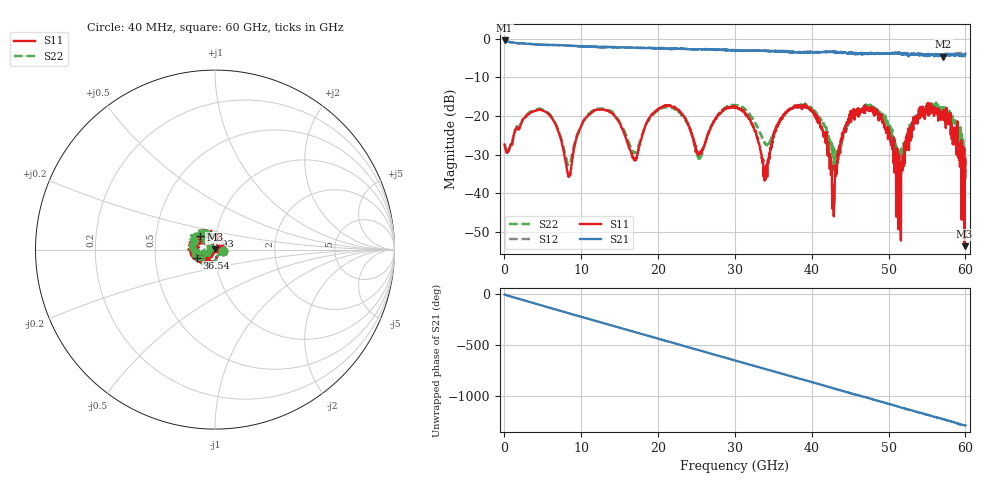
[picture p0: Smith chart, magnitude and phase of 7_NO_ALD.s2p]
! File created by 'SoftPlot +Plus+ Measurement Management Software'
! SoftPlot +Plus+ Measurement Management Software
! Start 40.000000 MHz  Stop 60.000000 GHz  Points 1601
# MHZ S RI R 50
! S-Parameter data, F S11 S21 S12 S22
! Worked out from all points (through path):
!   1601 points, 40 MHz to 60 GHz, reference 50 ohm
!   highest |S21| = -0.41 dB at 40 MHz (marker M1); lowest = -4.6 dB at 57.11 GHz (marker M2)
!   group delay of S21, straight-line fit = 59.6 ps
!   lowest |S11| = -53.7 dB at 59.89 GHz (marker M3), VSWR 1.00, Z = 49.8 + j0.112 ohm
!   |S11| at or under -10 dB: start of sweep to end of sweep
!   |S22| runs from -34.4 to -16.2 dB; largest |S21 - S12| = 0.054
!   S11 on the Smith chart (normalised r, x): 40 MHz: 1.09, -0.02; 36.54 GHz: 0.81, -0.07; 56.93 GHz: 0.84, +0.13; 60 GHz: 1.05, +0.02
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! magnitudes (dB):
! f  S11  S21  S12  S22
! 40 MHz  -27.4  -0.4  -0.4  -27.3
! 5.062 GHz  -18.6  -1.5  -1.5  -18.4
! 8.397 GHz  -35.4  -1.7  -1.7  -32.5
! 10.05 GHz  -22.5  -2.0  -1.9  -22.3
! 13.76 GHz  -18.9  -2.1  -2.1  -18.5
! 16.98 GHz  -31.5  -2.3  -2.3  -29.4
! 20.05 GHz  -18.2  -2.5  -2.3  -18.4
! 22.94 GHz  -19.0  -2.5  -2.6  -19.4
! 25.41 GHz  -29.3  -2.7  -2.7  -31.4
! 30.02 GHz  -17.8  -2.9  -2.9  -17.1
! 34.03 GHz  -34.8  -3.1  -3.1  -27.4
! 36.54 GHz  -19.1  -3.2  -3.3  -19.3
! 40.03 GHz  -18.8  -3.4  -3.4  -17.9
! 42.84 GHz  -38.7  -3.3  -3.2  -33.9
! 45.2 GHz  -20.1  -3.6  -3.8  -20.5
! 50.03 GHz  -23.1  -3.7  -3.7  -22.5
! 51.31 GHz  -49.3  -3.9  -3.7  -28.8
! 53.4 GHz  -20.7  -4.0  -3.9  -20.9
! 56.93 GHz  -19.0  -4.4  -4.1  -18.0
! 57.11 GHz  -20.5  -4.6  -4.3  -17.2
! 59.89 GHz  -53.7  -4.1  -4.4  -33.4
! 60 GHz  -31.4  -3.8  -4.4  -30.1
